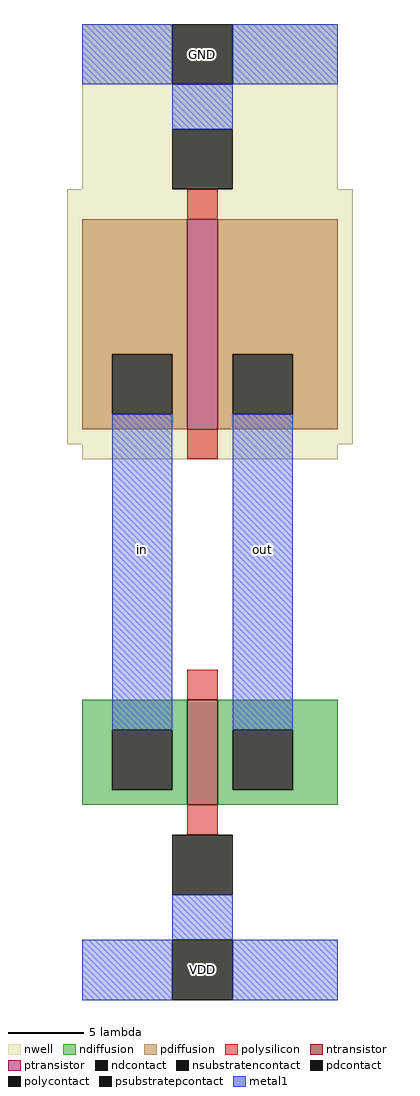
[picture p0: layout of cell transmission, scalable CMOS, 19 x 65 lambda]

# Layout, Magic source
magic
tech scmos
<< nwell >>
rect 4 16 21 27
rect 3 -1 22 16
rect 4 -2 21 -1
<< polysilicon >>
rect 11 14 13 16
rect 11 -2 13 0
rect 11 -18 13 -16
rect 11 -27 13 -25
<< ndiffusion >>
rect 4 -20 11 -18
rect 4 -24 6 -20
rect 10 -24 11 -20
rect 4 -25 11 -24
rect 13 -20 21 -18
rect 13 -24 14 -20
rect 18 -24 21 -20
rect 13 -25 21 -24
<< pdiffusion >>
rect 4 5 11 14
rect 4 1 6 5
rect 10 1 11 5
rect 4 0 11 1
rect 13 5 21 14
rect 13 1 14 5
rect 18 1 21 5
rect 13 0 21 1
<< metal1 >>
rect 4 23 10 27
rect 14 23 21 27
rect 10 20 14 23
rect 6 -20 10 1
rect 14 -20 18 1
rect 10 -34 14 -31
rect 4 -38 10 -34
rect 14 -38 21 -34
<< ntransistor >>
rect 11 -25 13 -18
<< ptransistor >>
rect 11 0 13 14
<< polycontact >>
rect 10 16 14 20
rect 10 -31 14 -27
<< ndcontact >>
rect 6 -24 10 -20
rect 14 -24 18 -20
<< pdcontact >>
rect 6 1 10 5
rect 14 1 18 5
<< psubstratepcontact >>
rect 10 -38 14 -34
<< nsubstratencontact >>
rect 10 23 14 27
<< labels >>
rlabel psubstratepcontact 12 -36 12 -36 1 VDD
rlabel nsubstratencontact 12 25 12 25 5 GND
rlabel metal1 8 -8 8 -8 3 in
rlabel metal1 16 -8 16 -8 1 out
<< end >>
